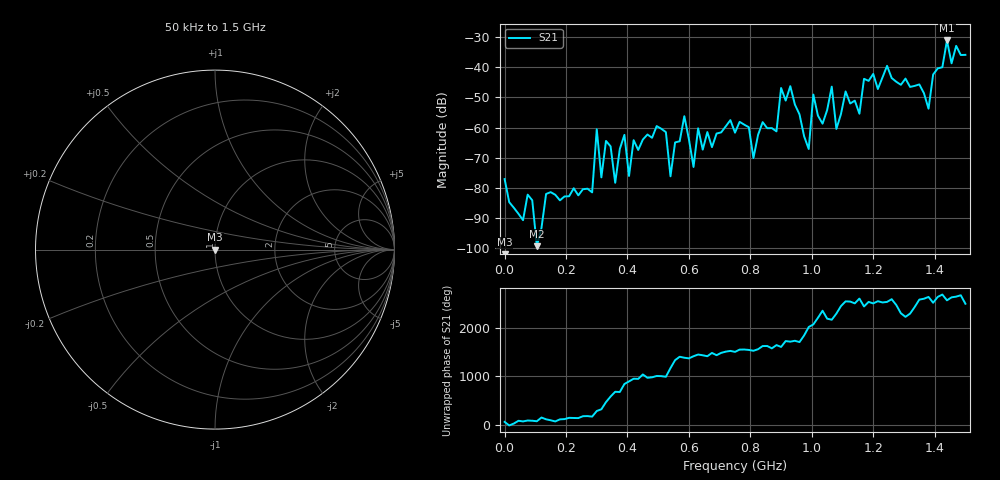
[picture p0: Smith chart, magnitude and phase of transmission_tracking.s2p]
! Created with skrf 1.8.0 (http://scikit-rf.org).
# Hz S RI R 50.0
!freq ReS11 ImS11 ReS21 ImS21 ReS12 ImS12 ReS22 ImS22
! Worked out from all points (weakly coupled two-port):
!   101 points, 50 kHz to 1.5 GHz, reference 50 ohm
!   highest |S21| = -31.08 dB at 1.44 GHz (marker M1); lowest = -99.4 dB at 105 MHz (marker M2)
!   lowest |S11| = - dB at 50 kHz (marker M3), VSWR 1.00, Z = 50 + j0 ohm
!   |S11| at or under -10 dB: start of sweep to end of sweep
!   S12 and S22 are empty: the file has one direction only
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50000  0 0  7.09e-05 0.00012  0 0  0 0
1.050465e8  0 0  3.18e-06 1.02e-05  0 0  0 0
2.550415e8  0 0  -9.43e-05 4.78e-06  0 0  0 0
2.850405e8  0 0  -8.2e-05 1.68e-05  0 0  0 0
3.0004e8  0 0  0.000235 -0.000902  0 0  0 0
3.60038e8  0 0  9.59e-05 -7.3e-05  0 0  0 0
3.90037e8  0 0  -0.000415 0.000631  0 0  0 0
4.050365e8  0 0  -0.000157 7.85e-06  0 0  0 0
5.10033e8  0 0  0.000271 -0.000914  0 0  0 0
5.40032e8  0 0  -8.35e-06 0.000155  0 0  0 0
5.850305e8  0 0  0.000931 -0.00123  0 0  0 0
6.150295e8  0 0  0.000206 -8.09e-05  0 0  0 0
7.50025e8  0 0  0.000303 0.000763  0 0  0 0
8.10023e8  0 0  -7.54e-06 0.000311  0 0  0 0
9.30019e8  0 0  0.000845 -0.00478  0 0  0 0
9.90017e8  0 0  -0.00032 -0.000301  0 0  0 0
1.005016e9  0 0  0.000408 -0.0035  0 0  0 0
1.080014e9  0 0  -0.00073 0.000603  0 0  0 0
1.260008e9  0 0  0.0013 0.00651  0 0  0 0
1.380004e9  0 0  -0.00121 0.00166  0 0  0 0
1.440002e9  0 0  0.0158 0.023  0 0  0 0
1.5e9  0 0  0.0155 -0.00416  0 0  0 0
